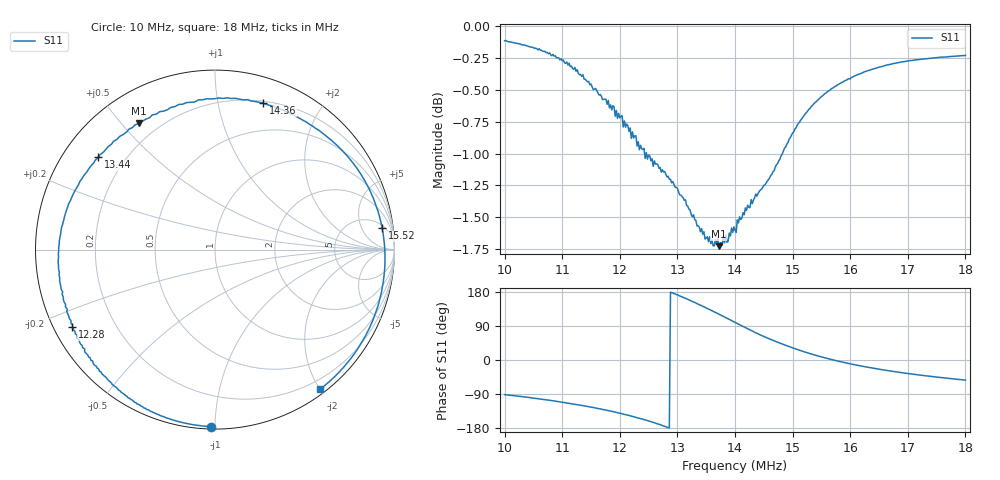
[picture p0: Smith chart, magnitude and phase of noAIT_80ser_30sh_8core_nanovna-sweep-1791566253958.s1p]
! NanoVNA Web complex sweep
! Processing: original sample grid, no browser smoothing
# Hz S RI R 50
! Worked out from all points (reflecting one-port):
!   401 points, 10 MHz to 18 MHz, reference 50 ohm
!   lowest |S11| = -1.7 dB at 13.72 MHz (marker M1), VSWR 10.10, Z = 6.52 + j27.9 ohm
!   phase of S11 starts at -91 deg and turns -322 deg over the sweep
!   S11 on the Smith chart (normalised r, x): 10 MHz: 0.01, -0.98; 12.28 MHz: 0.05, -0.25; 13.44 MHz: 0.10, +0.34; 14.36 MHz: 0.22, +1.36; 15.52 MHz: 6, +13; 18 MHz: 0.07, -2.00
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1e7  -0.0234 -0.9865
1.052e7  -0.1841 -0.9626
1.1e7  -0.3516 -0.9031
1.154e7  -0.5492 -0.7681
1.2e7  -0.7091 -0.5869
1.228e7  -0.7954 -0.4331
1.25e7  -0.8414 -0.2907
1.27e7  -0.8689 -0.1404
1.288e7  -0.8706 0.0162
1.3e7  -0.8548 0.1238
1.318e7  -0.8001 0.2869
1.344e7  -0.65 0.5139
1.372e7  -0.422 0.7028
1.386e7  -0.2851 0.7717
1.4e7  -0.1367 0.8204
1.418e7  0.0693 0.8458
1.436e7  0.2689 0.8161
1.452e7  0.4233 0.756
1.468e7  0.5586 0.6767
1.5e7  0.7696 0.4817
1.524e7  0.8703 0.313
1.552e7  0.9313 0.1198
1.574e7  0.9469 -0.0197
1.6e7  0.9389 -0.1658
1.648e7  0.8814 -0.3881
1.7e7  0.7872 -0.5648
1.75e7  0.6866 -0.6879
1.8e7  0.5854 -0.7783
